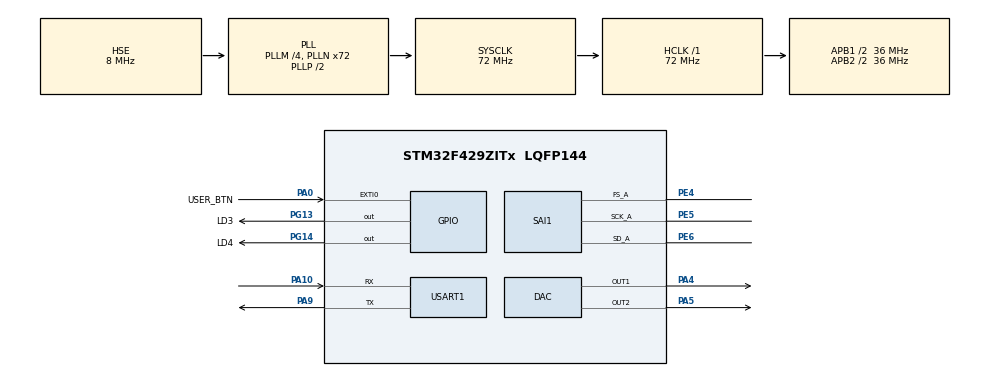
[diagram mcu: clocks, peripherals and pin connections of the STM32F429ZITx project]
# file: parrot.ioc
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DAC.DAC_Trigger=DAC_TRIGGER_T2_TRGO
DAC.DAC_Trigger2=DAC_TRIGGER_T2_TRGO
Dma.DAC1.0.Direction=DMA_MEMORY_TO_PERIPH
Dma.DAC1.0.FIFOMode=DMA_FIFOMODE_DISABLE
Dma.DAC1.0.Instance=DMA1_Stream5
Dma.DAC1.0.MemDataAlignment=DMA_MDATAALIGN_HALFWORD
Dma.DAC1.0.MemInc=DMA_MINC_ENABLE
Dma.DAC1.0.Mode=DMA_CIRCULAR
Dma.DAC1.0.PeriphDataAlignment=DMA_PDATAALIGN_HALFWORD
Dma.DAC1.0.PeriphInc=DMA_PINC_DISABLE
Dma.DAC1.0.Priority=DMA_PRIORITY_LOW
Dma.DAC2.1.Direction=DMA_MEMORY_TO_PERIPH
Dma.DAC2.1.FIFOMode=DMA_FIFOMODE_DISABLE
Dma.DAC2.1.Instance=DMA1_Stream6
Dma.DAC2.1.MemDataAlignment=DMA_MDATAALIGN_HALFWORD
Dma.DAC2.1.MemInc=DMA_MINC_ENABLE
Dma.DAC2.1.Mode=DMA_CIRCULAR
Dma.DAC2.1.PeriphDataAlignment=DMA_PDATAALIGN_HALFWORD
Dma.DAC2.1.PeriphInc=DMA_PINC_DISABLE
Dma.DAC2.1.Priority=DMA_PRIORITY_LOW
Dma.Request0=DAC1
Dma.Request1=DAC2
Dma.Request2=SAI1_A
Dma.SAI1_A.2.Direction=DMA_PERIPH_TO_MEMORY
Dma.SAI1_A.2.FIFOMode=DMA_FIFOMODE_DISABLE
Dma.SAI1_A.2.Instance=DMA2_Stream1
Dma.SAI1_A.2.MemDataAlignment=DMA_MDATAALIGN_HALFWORD
Dma.SAI1_A.2.MemInc=DMA_MINC_ENABLE
Dma.SAI1_A.2.Mode=DMA_CIRCULAR
Dma.SAI1_A.2.PeriphDataAlignment=DMA_PDATAALIGN_HALFWORD
Dma.SAI1_A.2.PeriphInc=DMA_PINC_DISABLE
Dma.SAI1_A.2.Priority=DMA_PRIORITY_LOW
Mcu.Family=STM32F4
Mcu.Name=STM32F429ZITx
Mcu.Package=LQFP144
NVIC.DMA1_Stream5_IRQn=true\:0\:0\:false\:false\:true\:false\:true
NVIC.DMA1_Stream6_IRQn=true\:0\:0\:false\:false\:true\:false\:true
NVIC.DMA2_Stream1_IRQn=true\:0\:0\:false\:false\:true\:false\:true
NVIC.PriorityGroup=NVIC_PRIORITYGROUP_0
NVIC.TIM6_DAC_IRQn=true\:0\:0\:false\:false\:true\:false\:true
NVIC.TimeBase=TIM6_DAC_IRQn
NVIC.TimeBaseIP=TIM6
PA0/WKUP.GPIO_Label=USER_BTN
PA0/WKUP.GPIO_ModeDefaultEXTI=GPIO_MODE_EVT_RISING
PA0/WKUP.Signal=GPXTI0
PA10.Mode=Asynchronous
PA10.Signal=USART1_RX
PA13.Mode=Serial_Wire
PA13.Signal=SYS_JTMS-SWDIO
PA14.Mode=Serial_Wire
PA14.Signal=SYS_JTCK-SWCLK
PA4.Signal=COMP_DAC1_group
PA5.Signal=COMP_DAC2_group
PA9.Mode=Asynchronous
PA9.Signal=USART1_TX
PE4.Mode=SAI_A_Master
PE4.Signal=SAI1_FS_A
PE5.Mode=SAI_A_Master
PE5.Signal=SAI1_SCK_A
PE6.Mode=SAI_A_Master
PE6.Signal=SAI1_SD_A
PG13.GPIO_Label=LD3
PG13.Signal=GPIO_Output
PG14.GPIO_Label=LD4
PG14.Signal=GPIO_Output
PH0/OSC_IN.Mode=HSE-External-Oscillator
PH0/OSC_IN.Signal=RCC_OSC_IN
PH1/OSC_OUT.Mode=HSE-External-Oscillator
PH1/OSC_OUT.Signal=RCC_OSC_OUT
ProjectManager.HeapSize=0x200
ProjectManager.StackSize=0x400
ProjectManager.TargetToolchain=STM32CubeIDE
RCC.48MHZClocksFreq_Value=20571428.57142857
RCC.AHBFreq_Value=72000000
RCC.APB1CLKDivider=RCC_HCLK_DIV2
RCC.APB1Freq_Value=36000000
RCC.APB1TimFreq_Value=72000000
RCC.APB2CLKDivider=RCC_HCLK_DIV2
RCC.APB2Freq_Value=36000000
RCC.APB2TimFreq_Value=72000000
RCC.CortexFreq_Value=72000000
RCC.HCLKFreq_Value=72000000
RCC.HSE_VALUE=8000000
RCC.HSI_VALUE=16000000
RCC.LSE_VALUE=32768
RCC.PLLM=4
RCC.PLLN=72
RCC.PLLQ=7
RCC.PLLSAIDivQ=25
RCC.PLLSAIN=128
RCC.PLLSAIQ=5
RCC.PLLSourceVirtual=RCC_PLLSOURCE_HSE
RCC.SYSCLKFreq_VALUE=72000000
RCC.SYSCLKSource=RCC_SYSCLKSOURCE_PLLCLK
RCC.VCOOutputFreq_Value=144000000
SAI1.ActiveFrameLength-SAI_A_Master=32
SAI1.AudioMode-SAI_A_Master=SAI_MODEMASTER_RX
SAI1.ClockStrobing-SAI_A_Master=SAI_CLOCKSTROBING_RISINGEDGE
SAI1.DataSize-SAI_A_Master=SAI_DATASIZE_16
SAI1.ErrorAudioFreq-SAI_A_Master=0.0 %
SAI1.FSDefinition-SAI_A_Master=SAI_FS_CHANNEL_IDENTIFICATION
SAI1.FrameLength-SAI_A_Master=64
SAI1.Instance-SAI_A_Master=SAI$Index_Block_A
SAI1.MClockEnable-SAI_A_Master=SAI_MASTERCLOCK_DISABLE
SAI1.NoDivider-SAI_A_Master=SAI_MASTERDIVIDER_DISABLE
SAI1.RealAudioFreq-SAI_A_Master=1.28 MHz
SAI1.SlotActive-SAI_A_Master=0x0000FFFF
SAI1.SlotNumber-SAI_A_Master=4
SAI1.Synchro_A=SAI_ASYNCHRONOUS
SAI1.VirtualMode-SAI_A_Master=VM_MASTER
SAI1.VirtualSlotActive-SAI_A_Master=SAI_SLOTACTIVE_ALL
SH.COMP_DAC1_group.0=DAC_OUT1,DAC_OUT1
SH.COMP_DAC2_group.0=DAC_OUT2,DAC_OUT2
TIM2.Period=2249
TIM2.TIM_MasterOutputTrigger=TIM_TRGO_UPDATE
USART1.VirtualMode=VM_ASYNC
VP_SYS_VS_tim6.Mode=TIM6
VP_TIM2_VS_ClockSourceINT.Mode=Internal
board=STM32F429I-DISC1

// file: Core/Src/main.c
/* USER CODE BEGIN Header */
/**
  ******************************************************************************
  * @file           : main.c
  * @brief          : Main program body
  ******************************************************************************
  * @attention
  *
  * <h2><center>&copy; Copyright (c) 2021 STMicroelectronics.
  * All rights reserved.</center></h2>
  *
  * This software component is licensed by ST under BSD 3-Clause license,
  * the "License"; You may not use this file except in compliance with the
  * License. You may obtain a copy of the License at:
  *                        opensource.org/licenses/BSD-3-Clause
  *
  ******************************************************************************
  */
/* USER CODE END Header */
#include "main.h"

/* USER CODE BEGIN Includes */
#include "pdm_fir.h"
#include <stdlib.h>
#include <string.h>
/* USER CODE END Includes */

/* USER CODE BEGIN PTD */
/**
 * @brief Enum of States the Program can Take
 * */
typedef enum {
    /** @brief The Program is Waiting for user input*/
    IDLE,
    /** @brief The Program is Recording sound (max RECORD_TIME_MS ms)*/
    RECORDING,
    /** @brief The Program is Playing recorded Sound on DAC*/
    PLAYING,
    /** @brief The Program is Transmitting Recorded Sound over UART */
    TRANSMITTING
} program_state_t;
/* USER CODE END PTD */

/* USER CODE BEGIN PD */
#pragma clang diagnostic push
#pragma ide diagnostic ignored "EndlessLoop"

/** @brief PCM Sampling frequency in Hz*/
#define SOUND_FS 32000
/** @brief PDM -> PCM Sampling frequency factor */
#define DECIMATION_FACTOR 64

/** @brief Number of PDM Sample in A Word */
#define WORD_SIZE 16

/** @brief Duration of a real time cycle in Milliseconds **/
#define T_CYCLE_MS 1

// 1ms of PDM data @SOUND_FS*DECIMATION_FACTOR in WORD of WORD_SIZE
/** @brief PDM Processing buffer size (Contain 1ms of PDM Sample)*/
#define PDM_BUFFER_SIZE (T_CYCLE_MS * ((SOUND_FS / 1000) * DECIMATION_FACTOR / WORD_SIZE))

// 1ms of PCM_DATA in word of WORD_SIZE
/** @brief PCM Processing buffer size  (Contain 1ms of PDM Sample)*/
#define PCM_BUFFER_SIZE (T_CYCLE_MS * (SOUND_FS / 1000))

/** @brief Maximum length of a record in ms */
#define RECORD_TIME_MS 2985

/** @brief Linear Gain applied on PCM Samples*/
#define LINEAR_GAIN 10

/** @brief Number of PCM samples to store in the recorded sound */
#define SAMPLE_COUNT (RECORD_TIME_MS * (SOUND_FS/1000))

/** @brief Macro configuring if the record is transmitted over UART (comment to disable UART transmission)*/
#define TRANSMIT

/* USER CODE END PD */

DAC_HandleTypeDef hdac;
DMA_HandleTypeDef hdma_dac1;
DMA_HandleTypeDef hdma_dac2;

SAI_HandleTypeDef hsai_BlockA1;
DMA_HandleTypeDef hdma_sai1_a;

TIM_HandleTypeDef htim2;

UART_HandleTypeDef huart1;

/* USER CODE BEGIN PV */
/** @brief PDM Receiving Buffer */
uint16_t PDM_BUFFER[PDM_BUFFER_SIZE * 2];
/** @brief PCM Processing Buffer */
uint16_t PCM_BUFFER[PCM_BUFFER_SIZE];

uint16_t const VOID_BUFFER[PCM_BUFFER_SIZE] = {[0 ... PCM_BUFFER_SIZE - 1] = 0x7FF};

/** @brief PCM Record Buffer */
uint16_t PCM_SOUND[SAMPLE_COUNT];

/** @brief Left Channel DAC transmitting Buffer */
uint16_t DAC_BUFFER_LEFT[PCM_BUFFER_SIZE * 2];
/** @brief Right Channel DAC transmitting Buffer */
uint16_t DAC_BUFFER_RIGHT[PCM_BUFFER_SIZE * 2];

/** @brief Flag lowered when SAI buffer Callbacks to indicate that the one half of the SAI buffer is ready to be read*/
uint8_t sai_flag = 1;
/** @brief Flag indicating Witch half of the SAI is ready to be read */
uint8_t sai_half = 0;
/** @brief Flag lowered when DAC buffer Callbacks to indicate that one half of the DAC buffer Has been read*/
uint8_t dac_flag = 1;
/** @brief Flag indicating Witch half of the SAI is ready to be written to */
uint8_t dac_half = 0;

#ifdef TRANSMIT
/**
 * @brief Array Storing the WAV HEADER hear with the default values for an Empty File (16 bit Integer PCM, Mono, Sampled @ SOUND_FS).
 *
 * Header is composed as such:
 * | Index | Size (Bytes) | Value                                       |
 * |:------|:-------------|:--------------------------------------------|
 * | 0     | 4            | "RIFF"                                      |
 * | 1     | 4            | File Size in Bytes (Header + samples) - 8   |
 * | 2     | 4            | "WAVE"                                      |
 * | 3     | 4            | "fmt "                                      |
 * | 4     | 4            | Number of bytes in the block - 16  (0x10)   |
 * | 5_hi  | 2            | Sample Type (1: Integer PCM, 3: floating PCM, 65534: WAVE_FORMAT_EXTENSIBLE |
 * | 5_lo  | 2            | Number of channels (1 &rarr; 6)              |
 * | 6     | 4            | Sampling Frequency                           |
 * | 7     | 4            | Byte rate (Bytes to read per second)         |
 * | 8_hi  | 2            | bits per sample                              |
 * | 8_lo  | 2            | Bytes per Block (All Channels)               |
 * | 9     | 4            | "data"                                       |
 * | 10    | 4            | Data size in bytes (Size in Bytes of the written PCM Samples)|
 */
uint32_t WAVE_HEADER[] = {
        // Declaration fichier
        ('F' << 24) + ('F' << 16) + ('I' << 8) + ('R' << 0), // 'RIFF'
        36, // file size + 44 (header) - 8
        ('E' << 24) + ('V' << 16) + ('A' << 8) + ('W' << 0), // WAVE
        (' ' << 24) + ('t' << 16) + ('m' << 8) + ('f' << 0), // 'fmt '
        0x10,
        (1 << 16) + (1 << 0), // PCM Entier + 1 canal
        SOUND_FS, // fs 32kHz
        SOUND_FS * 2, // 32kHz * 2 octet par bloc ech
        (16 << 16) + (2 << 0), // 2 octet par block d'ech et 16 bit par ech
        ('a' << 24) + ('t' << 16) + ('a' << 8) + ('d' << 0), //'data'
        0
};

#endif // TRANSMIT

/* USER CODE END PV */

void SystemClock_Config(void);

static void MX_GPIO_Init(void);

static void MX_DMA_Init(void);

static void MX_DAC_Init(void);

static void MX_SAI1_Init(void);

static void MX_TIM2_Init(void);

static void MX_USART1_UART_Init(void);

/* USER CODE BEGIN 0 */
void HAL_SAI_RxHalfCpltCallback(SAI_HandleTypeDef *hsai) {
    sai_flag = 0;
    sai_half = 0;
}

void HAL_SAI_RxCpltCallback(SAI_HandleTypeDef *hsai) {
    sai_flag = 0;
    sai_half = 1;
}

// Configuring DAC Interruption Callbacks
void HAL_DAC_ConvHalfCpltCallbackCh1(DAC_HandleTypeDef *hdac1) {
    dac_flag = 0;
    dac_half = 0;
}

void HAL_DAC_ConvCpltCallbackCh1(DAC_HandleTypeDef *hdac1) {
    dac_flag = 0;
    dac_half = 1;
}

/* USER CODE END 0 */

int main(void) {
    /* USER CODE BEGIN 1 */
    // Initializing Buffers
    for (size_t i = 0; i < PDM_BUFFER_SIZE * 2; i++) PDM_BUFFER[i] = 0;
    // Initializing PCM BUFFER At DAC Middle Point
    for (size_t i = 0; i < PCM_BUFFER_SIZE * 2; i++) {
        if (i < PCM_BUFFER_SIZE) {
            PCM_BUFFER[i] = 0x7FF;
        }
        DAC_BUFFER_LEFT[i] = 0x7FF;
        DAC_BUFFER_RIGHT[i] = 0x7FF;
    }
    for (size_t i = 0; i < SAMPLE_COUNT; i++) PCM_SOUND[i] = 0x7FF;

    //Initializing Program
    program_state_t program_state = IDLE;
    uint32_t recording_index = 0, playback_index = 0;
    uint32_t samples_recorded = 0, cool_down = 0, idle_counter = 0;
    int64_t playback_start;
#ifdef TRANSMIT
    uint32_t send_index;
#endif // TRANSMIT
    pdm_fir_filter_config_t fir_filter;
    /* USER CODE END 1 */

    /* MCU Configuration--------------------------------------------------------*/

    /* Reset of all peripherals, Initializes the Flash interface and the Systick. */
    HAL_Init();

    /* Configure the system clock */
    SystemClock_Config();

    /* Initialize all configured peripherals */
    MX_GPIO_Init();
    MX_DMA_Init();
    MX_DAC_Init();
    MX_SAI1_Init();
    MX_TIM2_Init();
    MX_USART1_UART_Init();
    /* USER CODE BEGIN 2 */
    // Starting Peripherals
    pdm_fir_flt_config_init(&fir_filter, DECIMATION_FACTOR, -50, 0X7FF, LINEAR_GAIN, 12);

    HAL_SAI_Receive_DMA(&hsai_BlockA1, (uint8_t *) PDM_BUFFER, PDM_BUFFER_SIZE * 2);
    HAL_DAC_Start_DMA(&hdac, DAC_CHANNEL_1, (uint32_t *) DAC_BUFFER_LEFT, PCM_BUFFER_SIZE * 2, DAC_ALIGN_12B_R);
    HAL_DAC_Start_DMA(&hdac, DAC_CHANNEL_2, (uint32_t *) DAC_BUFFER_RIGHT, PCM_BUFFER_SIZE * 2, DAC_ALIGN_12B_R);
    HAL_TIM_Base_Start(&htim2);
    /* USER CODE END 2 */

    /* Infinite loop */
    /* USER CODE BEGIN WHILE */
    const uint16_t *to_copy = VOID_BUFFER;
    uint8_t new_sample = 0, copied = 0;
    size_t pcm_wrote = 0;
    while (1) {
        /* USER CODE END WHILE */

        /* USER CODE BEGIN 3 */
        //Handling Interruptions
        if (!sai_flag) {
            pcm_wrote = pdm_fir_flt_chunk(&fir_filter, PCM_BUFFER, PDM_BUFFER + sai_half * PDM_BUFFER_SIZE,
                                          PDM_BUFFER_SIZE);
            if (cool_down > 0) cool_down--;
            sai_flag = 1;
            new_sample = 1;
        }
        if (!dac_flag) {
            memcpy(DAC_BUFFER_LEFT + dac_half * PCM_BUFFER_SIZE, to_copy, sizeof(uint16_t) * PCM_BUFFER_SIZE);
            memcpy(DAC_BUFFER_RIGHT + dac_half * PCM_BUFFER_SIZE, to_copy, sizeof(uint16_t) * PCM_BUFFER_SIZE);
            dac_flag = 1;
            copied = 1;
        }

        switch (program_state) {
            case IDLE:
                if (HAL_GPIO_ReadPin(GPIOA, USER_BTN_Pin) == GPIO_PIN_SET && cool_down == 0) {
                    program_state = RECORDING;
                    HAL_GPIO_WritePin(GPIOG, LD3_Pin, GPIO_PIN_SET);
                    HAL_GPIO_WritePin(GPIOG, LD4_Pin, GPIO_PIN_RESET);
                    cool_down = 500;
                    samples_recorded = 0;
                }
                if (cool_down == 0) HAL_GPIO_WritePin(LD4_GPIO_Port, LD4_Pin, GPIO_PIN_SET);
                if (new_sample) new_sample = 0;
                if (copied) copied = 0;
                break;
            case RECORDING:
                if (new_sample) {
                    new_sample = 0;
                    if (samples_recorded < SAMPLE_COUNT) samples_recorded += pcm_wrote;
                    //Saving Filtered Samples into SOUND
                    memcpy(PCM_SOUND + recording_index, PCM_BUFFER, sizeof(uint16_t) * pcm_wrote);
                    // updating circular buffer index
                    recording_index = (recording_index + pcm_wrote) % SAMPLE_COUNT;
                }
                if (HAL_GPIO_ReadPin(GPIOA, USER_BTN_Pin) == GPIO_PIN_SET && cool_down == 0) {
                    program_state = PLAYING;
                    HAL_GPIO_WritePin(GPIOG, LD3_Pin, GPIO_PIN_SET);
                    HAL_GPIO_WritePin(GPIOG, LD4_Pin, GPIO_PIN_SET);

                    // if more than RECORD_TIME is Recorded -> full buffer replay
                    if (samples_recorded > SAMPLE_COUNT) samples_recorded = SAMPLE_COUNT;

                    // Defining the start point of the playback
                    playback_start = ((int64_t) recording_index - (int64_t) samples_recorded);
                    if (playback_start < 0)
                        playback_start = SAMPLE_COUNT + playback_start;
                }
                break;
            case PLAYING:
                if (copied) {
                    if (playback_index < recording_index) {
                        uint32_t real_idx = (playback_start + playback_index) % SAMPLE_COUNT;
                        to_copy = PCM_SOUND + real_idx;
                        playback_index += PCM_BUFFER_SIZE;
                    } else {
                        //State Change
                        playback_index = 0;
                        HAL_GPIO_WritePin(GPIOG, LD4_Pin, GPIO_PIN_RESET);
                        HAL_GPIO_WritePin(GPIOG, LD3_Pin, GPIO_PIN_RESET);
                        to_copy = VOID_BUFFER;
#ifdef TRANSMIT
                        program_state = TRANSMITTING;
#else
                        program_state = IDLE;
#endif // TRANSMIT
                        cool_down = 500;
                        recording_index = 0;
                    }
                    copied = 0;
                }

                break;
#ifdef TRANSMIT
                case TRANSMITTING:
                    //Optimizing sound for 16 bit WAV Samples
                    for (size_t i = 0; i < SAMPLE_COUNT; i++)
                        PCM_SOUND[i] = (int16_t) (PCM_SOUND[i] - 0x7FF) * (0x7FFF / 0x7FF);
                    WAVE_HEADER[1] = 36 + samples_recorded * sizeof(uint16_t);
                    WAVE_HEADER[10] = samples_recorded * sizeof(uint16_t);
                    HAL_UART_Transmit(&huart1, (uint8_t *) WAVE_HEADER, 44, HAL_MAX_DELAY);
                    for (size_t i = 0; i < samples_recorded; i += PCM_BUFFER_SIZE) {
                        send_index = (playback_start + i) % SAMPLE_COUNT;
                        HAL_UART_Transmit(&huart1, (uint8_t *) (PCM_SOUND + send_index), PCM_BUFFER_SIZE * sizeof(uint16_t),
                                          HAL_MAX_DELAY);
                    }
                    program_state = IDLE;
                    dac_flag =0;
                    sai_flag = 0;
                    break;
#endif //TRANSMIT
            default:
                break;
        }
    }
    /* USER CODE END 3 */
}

void SystemClock_Config(void) {
    RCC_OscInitTypeDef RCC_OscInitStruct = {0};
    RCC_ClkInitTypeDef RCC_ClkInitStruct = {0};

    /** Macro to configure SAI1BlockA clock source selection
    */
    __HAL_RCC_SAI_BLOCKACLKSOURCE_CONFIG(SAI_CLKSOURCE_PLLSAI);
    /** Configure the main internal regulator output voltage
    */
    __HAL_RCC_PWR_CLK_ENABLE();
    __HAL_PWR_VOLTAGESCALING_CONFIG(PWR_REGULATOR_VOLTAGE_SCALE3);
    /** Initializes the RCC Oscillators according to the specified parameters
    * in the RCC_OscInitTypeDef structure.
    */
    RCC_OscInitStruct.OscillatorType = RCC_OSCILLATORTYPE_HSE;
    RCC_OscInitStruct.HSEState = RCC_HSE_ON;
    RCC_OscInitStruct.PLL.PLLState = RCC_PLL_ON;
    RCC_OscInitStruct.PLL.PLLSource = RCC_PLLSOURCE_HSE;
    RCC_OscInitStruct.PLL.PLLM = 4;
    RCC_OscInitStruct.PLL.PLLN = 72;
    RCC_OscInitStruct.PLL.PLLP = RCC_PLLP_DIV2;
    RCC_OscInitStruct.PLL.PLLQ = 7;
    if (HAL_RCC_OscConfig(&RCC_OscInitStruct) != HAL_OK) {
        Error_Handler();
    }
    /** Initializes the CPU, AHB and APB buses clocks
    */
    RCC_ClkInitStruct.ClockType = RCC_CLOCKTYPE_HCLK | RCC_CLOCKTYPE_SYSCLK
                                  | RCC_CLOCKTYPE_PCLK1 | RCC_CLOCKTYPE_PCLK2;
    RCC_ClkInitStruct.SYSCLKSource = RCC_SYSCLKSOURCE_PLLCLK;
    RCC_ClkInitStruct.AHBCLKDivider = RCC_SYSCLK_DIV1;
    RCC_ClkInitStruct.APB1CLKDivider = RCC_HCLK_DIV2;
    RCC_ClkInitStruct.APB2CLKDivider = RCC_HCLK_DIV2;

    if (HAL_RCC_ClockConfig(&RCC_ClkInitStruct, FLASH_LATENCY_2) != HAL_OK) {
        Error_Handler();
    }
}

static void MX_DAC_Init(void) {

    DAC_ChannelConfTypeDef sConfig = {0};

    /** DAC Initialization
    */
    hdac.Instance = DAC;
    if (HAL_DAC_Init(&hdac) != HAL_OK) {
        Error_Handler();
    }
    /** DAC channel OUT1 config
    */
    sConfig.DAC_Trigger = DAC_TRIGGER_T2_TRGO;
    sConfig.DAC_OutputBuffer = DAC_OUTPUTBUFFER_ENABLE;
    if (HAL_DAC_ConfigChannel(&hdac, &sConfig, DAC_CHANNEL_1) != HAL_OK) {
        Error_Handler();
    }
    /** DAC channel OUT2 config
    */
    if (HAL_DAC_ConfigChannel(&hdac, &sConfig, DAC_CHANNEL_2) != HAL_OK) {
        Error_Handler();
    }

}

static void MX_SAI1_Init(void) {

    hsai_BlockA1.Instance = SAI1_Block_A;
    hsai_BlockA1.Init.Protocol = SAI_FREE_PROTOCOL;
    hsai_BlockA1.Init.AudioMode = SAI_MODEMASTER_RX;
    hsai_BlockA1.Init.DataSize = SAI_DATASIZE_16;
    hsai_BlockA1.Init.FirstBit = SAI_FIRSTBIT_MSB;
    hsai_BlockA1.Init.ClockStrobing = SAI_CLOCKSTROBING_RISINGEDGE;
    hsai_BlockA1.Init.Synchro = SAI_ASYNCHRONOUS;
    hsai_BlockA1.Init.OutputDrive = SAI_OUTPUTDRIVE_DISABLE;
    hsai_BlockA1.Init.NoDivider = SAI_MASTERDIVIDER_DISABLE;
    hsai_BlockA1.Init.FIFOThreshold = SAI_FIFOTHRESHOLD_EMPTY;
    hsai_BlockA1.Init.ClockSource = SAI_CLKSOURCE_PLLSAI;
    hsai_BlockA1.FrameInit.FrameLength = 64;
    hsai_BlockA1.FrameInit.ActiveFrameLength = 32;
    hsai_BlockA1.FrameInit.FSDefinition = SAI_FS_CHANNEL_IDENTIFICATION;
    hsai_BlockA1.FrameInit.FSPolarity = SAI_FS_ACTIVE_LOW;
    hsai_BlockA1.FrameInit.FSOffset = SAI_FS_FIRSTBIT;
    hsai_BlockA1.SlotInit.FirstBitOffset = 0;
    hsai_BlockA1.SlotInit.SlotSize = SAI_SLOTSIZE_DATASIZE;
    hsai_BlockA1.SlotInit.SlotNumber = 4;
    hsai_BlockA1.SlotInit.SlotActive = 0x0000FFFF;
    if (HAL_SAI_Init(&hsai_BlockA1) != HAL_OK) {
        Error_Handler();
    }

}

static void MX_TIM2_Init(void) {

    TIM_ClockConfigTypeDef sClockSourceConfig = {0};
    TIM_MasterConfigTypeDef sMasterConfig = {0};

    htim2.Instance = TIM2;
    htim2.Init.Prescaler = 0;
    htim2.Init.CounterMode = TIM_COUNTERMODE_UP;
    htim2.Init.Period = 2249;
    htim2.Init.ClockDivision = TIM_CLOCKDIVISION_DIV1;
    htim2.Init.AutoReloadPreload = TIM_AUTORELOAD_PRELOAD_DISABLE;
    if (HAL_TIM_Base_Init(&htim2) != HAL_OK) {
        Error_Handler();
    }
    sClockSourceConfig.ClockSource = TIM_CLOCKSOURCE_INTERNAL;
    if (HAL_TIM_ConfigClockSource(&htim2, &sClockSourceConfig) != HAL_OK) {
        Error_Handler();
    }
    sMasterConfig.MasterOutputTrigger = TIM_TRGO_UPDATE;
    sMasterConfig.MasterSlaveMode = TIM_MASTERSLAVEMODE_DISABLE;
    if (HAL_TIMEx_MasterConfigSynchronization(&htim2, &sMasterConfig) != HAL_OK) {
        Error_Handler();
    }

}

static void MX_USART1_UART_Init(void) {

    huart1.Instance = USART1;
    huart1.Init.BaudRate = 115200;
    huart1.Init.WordLength = UART_WORDLENGTH_8B;
    huart1.Init.StopBits = UART_STOPBITS_1;
    huart1.Init.Parity = UART_PARITY_NONE;
    huart1.Init.Mode = UART_MODE_TX_RX;
    huart1.Init.HwFlowCtl = UART_HWCONTROL_NONE;
    huart1.Init.OverSampling = UART_OVERSAMPLING_16;
    if (HAL_UART_Init(&huart1) != HAL_OK) {
        Error_Handler();
    }

}

static void MX_DMA_Init(void) {

    /* DMA controller clock enable */
    __HAL_RCC_DMA1_CLK_ENABLE();
    __HAL_RCC_DMA2_CLK_ENABLE();

    /* DMA interrupt init */
    /* DMA1_Stream5_IRQn interrupt configuration */
    HAL_NVIC_SetPriority(DMA1_Stream5_IRQn, 0, 0);
    HAL_NVIC_EnableIRQ(DMA1_Stream5_IRQn);
    /* DMA1_Stream6_IRQn interrupt configuration */
    HAL_NVIC_SetPriority(DMA1_Stream6_IRQn, 0, 0);
    HAL_NVIC_EnableIRQ(DMA1_Stream6_IRQn);
    /* DMA2_Stream1_IRQn interrupt configuration */
    HAL_NVIC_SetPriority(DMA2_Stream1_IRQn, 0, 0);
    HAL_NVIC_EnableIRQ(DMA2_Stream1_IRQn);

}

static void MX_GPIO_Init(void) {
    GPIO_InitTypeDef GPIO_InitStruct = {0};

    /* GPIO Ports Clock Enable */
    __HAL_RCC_GPIOE_CLK_ENABLE();
    __HAL_RCC_GPIOH_CLK_ENABLE();
    __HAL_RCC_GPIOA_CLK_ENABLE();
    __HAL_RCC_GPIOG_CLK_ENABLE();

    /*Configure GPIO pin Output Level */
    HAL_GPIO_WritePin(GPIOG, LD3_Pin | LD4_Pin, GPIO_PIN_RESET);

    /*Configure GPIO pin : USER_BTN_Pin */
    GPIO_InitStruct.Pin = USER_BTN_Pin;
    GPIO_InitStruct.Mode = GPIO_MODE_EVT_RISING;
    GPIO_InitStruct.Pull = GPIO_NOPULL;
    HAL_GPIO_Init(USER_BTN_GPIO_Port, &GPIO_InitStruct);

    /*Configure GPIO pins : LD3_Pin LD4_Pin */
    GPIO_InitStruct.Pin = LD3_Pin | LD4_Pin;
    GPIO_InitStruct.Mode = GPIO_MODE_OUTPUT_PP;
    GPIO_InitStruct.Pull = GPIO_NOPULL;
    GPIO_InitStruct.Speed = GPIO_SPEED_FREQ_LOW;
    HAL_GPIO_Init(GPIOG, &GPIO_InitStruct);

}

void HAL_TIM_PeriodElapsedCallback(TIM_HandleTypeDef *htim) {
    if (htim->Instance == TIM6) {
        HAL_IncTick();
    }
}

void Error_Handler(void) {
    __disable_irq();
    while (1) {
    }
}

/************************ (C) COPYRIGHT STMicroelectronics *****END OF FILE****/
